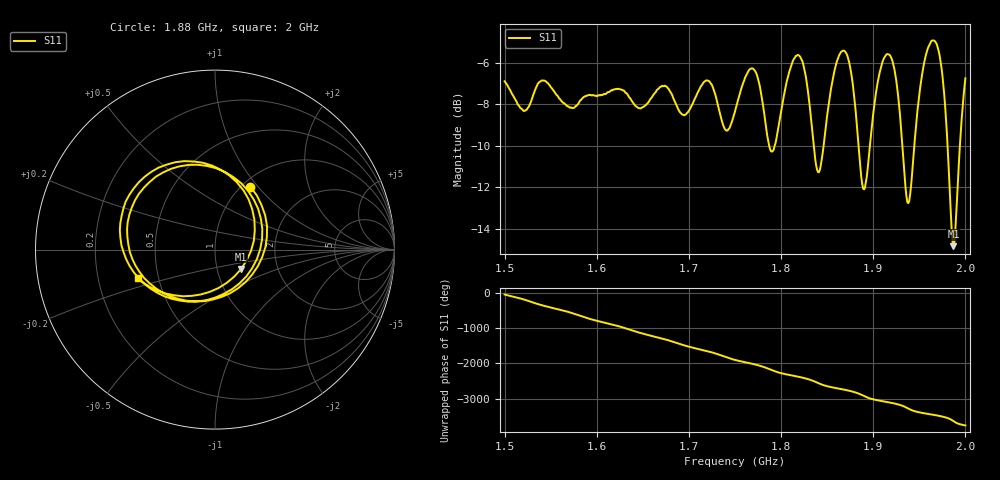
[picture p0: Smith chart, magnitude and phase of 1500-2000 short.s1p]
! NanoVNA-App by SYSJOINT et al v1.1.209 (+OD18)
! Date: 2025-09-17 10:25:24
! Start: 1.5GHz Stop: 2GHz Points: 501
! S-Parameter data: F S11
# Hz S RI R 50
!  Frequency  S11_Real  S11_Imag
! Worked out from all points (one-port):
!   501 points, 1.5 GHz to 2 GHz, reference 50 ohm
!   lowest |S11| = -14.8 dB at 1.987 GHz (marker M1), VSWR 1.44, Z = 65.2 - j14.6 ohm
!   |S11| at or under -10 dB: 1.884 GHz to 1.896 GHz (12.3 MHz wide, 0.651 % of centre); 1.932 GHz to 1.945 GHz (12.95 MHz wide, 0.668 % of centre); 1.981 GHz to 1.994 GHz (13.37 MHz wide, 0.673 % of centre) (the widest 3 of 5)
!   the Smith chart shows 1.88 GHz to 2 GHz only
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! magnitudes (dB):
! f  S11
! 1.5 GHz  -6.9
! 1.52 GHz  -8.3
! 1.541 GHz  -6.9
! 1.563 GHz  -7.9
! 1.625 GHz  -7.3
! 1.647 GHz  -8.2
! 1.674 GHz  -7.1
! 1.688 GHz  -8.2
! 1.72 GHz  -6.9
! 1.74 GHz  -9.2
! 1.75 GHz  -8.4
! 1.771 GHz  -6.4
! 1.791 GHz  -10.3
! 1.813 GHz  -5.9
! 1.825 GHz  -6.3
! 1.841 GHz  -11.3
! 1.861 GHz  -5.9
! 1.875 GHz  -6.2
! 1.89 GHz  -12.1
! 1.906 GHz  -6.7
! 1.919 GHz  -5.7
! 1.926 GHz  -7.2
! 1.938 GHz  -12.8
! 1.954 GHz  -6.3
! 1.967 GHz  -5.0
! 1.976 GHz  -7.0
! 1.987 GHz  -14.8
! 2 GHz  -6.8
